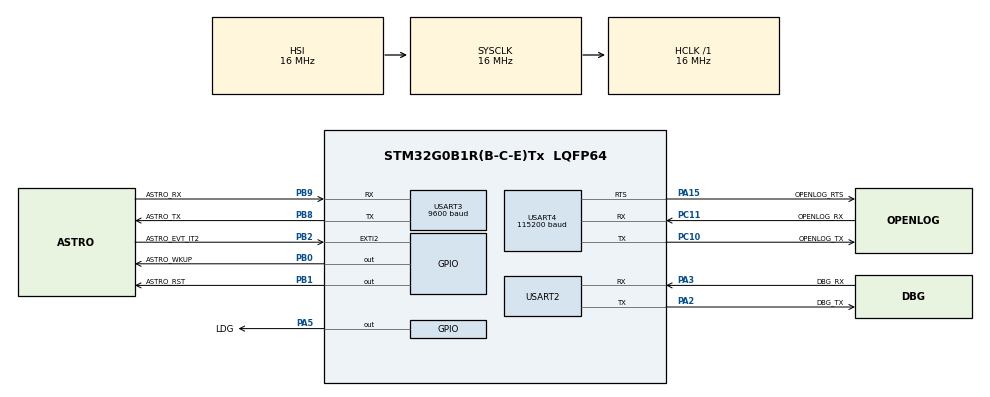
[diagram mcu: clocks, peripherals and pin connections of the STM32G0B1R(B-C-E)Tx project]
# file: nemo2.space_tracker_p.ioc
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Mcu.Family=STM32G0
Mcu.Name=STM32G0B1R(B-C-E)Tx
Mcu.Package=LQFP64
NVIC.EXTI2_3_IRQn=true\:3\:0\:true\:false\:true\:true\:true\:true
NVIC.RTC_TAMP_IRQn=true\:3\:0\:true\:false\:true\:true\:true\:true
NVIC.TIM6_DAC_LPTIM1_IRQn=true\:2\:0\:true\:false\:true\:true\:true\:true
PA13.GPIO_Label=TMS
PA13.Mode=Serial_Wire
PA13.Signal=SYS_SWDIO
PA14-BOOT0.GPIO_Label=TCK
PA14-BOOT0.Mode=Serial_Wire
PA14-BOOT0.Signal=SYS_SWCLK
PA15.GPIO_Label=OPENLOG_RTS
PA15.Mode=RTS_Only
PA15.Signal=USART4_RTS
PA2.GPIO_Label=DBG_TX
PA2.Mode=Asynchronous
PA2.Signal=USART2_TX
PA3.GPIO_Label=DBG_RX
PA3.Mode=Asynchronous
PA3.Signal=USART2_RX
PA5.GPIO_Label=LDG
PA5.GPIO_Speed=GPIO_SPEED_FREQ_HIGH
PA5.Signal=GPIO_Output
PB0.GPIO_Label=ASTRO_WKUP
PB0.Signal=GPIO_Output
PB1.GPIO_Label=ASTRO_RST
PB1.Signal=GPIO_Output
PB2.GPIO_Label=ASTRO_EVT_IT2
PB2.GPIO_PuPd=GPIO_NOPULL
PB2.Signal=GPXTI2
PB8.GPIO_Label=ASTRO_TX
PB8.Mode=Asynchronous
PB8.Signal=USART3_TX
PB9.GPIO_Label=ASTRO_RX
PB9.Mode=Asynchronous
PB9.Signal=USART3_RX
PC10.GPIO_Label=OPENLOG_TX
PC10.Mode=Asynchronous
PC10.Signal=USART4_TX
PC11.GPIO_Label=OPENLOG_RX
PC11.Mode=Asynchronous
PC11.Signal=USART4_RX
PC13.Mode=SYS_WakeUp1
PC13.Signal=SYS_WKUP2
PC14-OSC32_IN\ (PC14).Mode=LSE-External-Oscillator
PC14-OSC32_IN\ (PC14).Signal=RCC_OSC32_IN
PC15-OSC32_OUT\ (PC15).Mode=LSE-External-Oscillator
PC15-OSC32_OUT\ (PC15).Signal=RCC_OSC32_OUT
PF0-OSC_IN\ (PF0).GPIO_Label=MCO
PF0-OSC_IN\ (PF0).Mode=HSE-External-Clock-Source
PF0-OSC_IN\ (PF0).Signal=RCC_OSC_IN
ProjectManager.HeapSize=0x200
ProjectManager.StackSize=0x400
ProjectManager.TargetToolchain=STM32CubeIDE
RCC.AHBFreq_Value=16000000
RCC.CortexFreq_Value=16000000
RCC.EXTERNAL_CLOCK_VALUE=12288000
RCC.HCLKFreq_Value=16000000
RCC.HSE_VALUE=8000000
RCC.HSI48_VALUE=48000000
RCC.HSI_VALUE=16000000
RCC.RTCClockSelection=RCC_RTCCLKSOURCE_LSE
RCC.SYSCLKFreq_VALUE=16000000
RCC.USBFreq_Value=48000000
RCC.VCOOutputFreq_Value=128000000
RTC.Alarm-Alarm\ A=RTC_ALARM_A
RTC.Format=RTC_FORMAT_BIN
RTC.WeekDay=RTC_WEEKDAY_SATURDAY
TIM6.Period=1000-1
TIM6.Prescaler=16000-1
USART2.VirtualMode-Asynchronous=VM_ASYNC
USART3.BaudRate=9600
USART3.VirtualMode-Asynchronous=VM_ASYNC
USART4.BaudRate=115200
USART4.VirtualMode-Asynchronous=VM_ASYNC
VP_RTC_VS_RTC_Activate.Mode=RTC_Enabled
VP_RTC_VS_RTC_Alarm_A_Intern.Mode=Alarm A
VP_RTC_VS_RTC_Calendar.Mode=RTC_Calendar
VP_SYS_VS_DBSignals.Mode=DisableDeadBatterySignals
VP_TIM6_VS_ClockSourceINT.Mode=Enable_Timer
board=NUCLEO-G0B1RE

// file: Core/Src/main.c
/* USER CODE BEGIN Header */
/**
  ******************************************************************************
  * @file           : main.c
  * @brief          : Main program body
  ******************************************************************************
  * @attention
  *
  * Copyright (c) 2023 STMicroelectronics.
  * All rights reserved.
  *
  * This software is licensed under terms that can be found in the LICENSE file
  * in the root directory of this software component.
  * If no LICENSE file comes with this software, it is provided AS-IS.
  *
  ******************************************************************************
  */
/* USER CODE END Header */
#include "main.h"

RTC_HandleTypeDef hrtc;

TIM_HandleTypeDef htim6;

UART_HandleTypeDef huart2;
UART_HandleTypeDef huart3;
UART_HandleTypeDef huart4;

/* USER CODE BEGIN PV */
const char*	hello = "\nHello nemo2.space tracker p\n\n" ;
const char*	fv = "0.0.2" ;
char		rtc_dt_s[20] ;

// TIM
uint16_t	tim_seconds = 0 ; // Powinien być ten sam typ co my_lx6_gnss_active_time_ths

// RTC
RTC_TimeTypeDef rtc_t ;
RTC_DateTypeDef rtc_d ;
uint32_t		rtc_alarm_time = 3600 ; // 7200

// Astro
uint16_t	astro_payload_id = 0 ;
char		payload[ASTRO_PAYLOAD_MAX_LEN] = {0}; // 160 bajtów

// Flags
bool	is_system_already_initialized = false ; // Recognize if system has successful GNSS contact and has real time, Based on rtc settings.
bool	is_rtc_alarm_flag = false ;
bool	dbg_mode_flag = true ;

// temp

// Przykładowe współrzędne
double last_latitude_astro_geo_wr = 52.278250 ;
double last_longitude_astro_geo_wr = 20.809116 ;
double latitude_astro_geo_wr , longitude_astro_geo_wr ;

//int32_t latitude_astro_geo_wr = last_latitude_astro_geo_wr ;
//int32_t longitude_astro_geo_wr = last_longitude_astro_geo_wr ;

// OpenLog

float pdop ;

//SYSTEM
char	dbg_m[DBG_PAYLOAD_MAX_LEN] = {0} ;

/* USER CODE END PV */

void SystemClock_Config(void);
static void MX_GPIO_Init(void);
static void MX_USART2_UART_Init(void);
static void MX_RTC_Init(void);
static void MX_TIM6_Init(void);
static void MX_USART3_UART_Init(void);
static void MX_USART4_UART_Init(void);
/* USER CODE BEGIN PFP */
bool is_system_initialized ( void ) ;
bool my_astro_init () ;
/* USER CODE END PFP */

int main(void)
{

  /* MCU Configuration--------------------------------------------------------*/

  /* Reset of all peripherals, Initializes the Flash interface and the Systick. */
  HAL_Init();

  /* Configure the system clock */
  SystemClock_Config();

  /* Initialize all configured peripherals */
  MX_GPIO_Init();
  MX_USART2_UART_Init();
  MX_RTC_Init();
  MX_TIM6_Init();
  MX_USART3_UART_Init();
  MX_USART4_UART_Init();
  /* USER CODE BEGIN 2 */

  // System hello
  HAL_UART_Transmit ( HUART_DBG , (uint8_t*) hello , strlen (hello) , UART_TIMEOUT ) ;

  // System Init
  my_tim_init ( HTIM ) ;
  my_tim_start ( HTIM ) ;
  if ( !is_system_initialized () )
  {
	  if ( !my_astro_init ( htim6 ) )
	  {
		  HAL_NVIC_SystemReset () ;
	  }
	  else
	  {
		  while ( is_evt_pin_high() )
		  {
			  send_debug_logs ( "main.c,ucb2,is_evt_pin_high" ) ;
			  my_astro_read_evt_reg () ;
		  }
		  sprintf ( payload , "fv=%s" , fv ) ;
		  sprintf ( dbg_m , "main.c,ucb2,payload,%u %s" , astro_payload_id , payload ) ; // Żeby astro_payload_id był taki jak wysłany, bo po wysłaniu będzie zwiększony
		  my_astro_write_coordinates ( (int32_t) ( last_latitude_astro_geo_wr * 1e7 ) , (int32_t) ( last_longitude_astro_geo_wr * 1e7 ) ) ;
		  my_astro_add_payload_2_queue ( astro_payload_id++ , payload ) ;
		  send_debug_logs ( dbg_m ) ;
	  }
  }
  if ( my_rtc_set_alarm ( rtc_alarm_time ) && !dbg_mode_flag )
  {
	  tim_seconds = 0 ;
	  my_tim_stop ( HTIM ) ;
	  HAL_SuspendTick () ; // Jak nie wyłączę to mnie przerwanie SysTick od razu wybudzi!!!
	  HAL_PWR_EnterSTOPMode ( PWR_LOWPOWERREGULATOR_ON , PWR_STOPENTRY_WFE ) ;
	  HAL_ResumeTick () ;
	  my_tim_start ( HTIM ) ;
	  my_rtc_get_dt_s ( rtc_dt_s ) ;
	  send_debug_logs ( rtc_dt_s ) ;
  }
  /* USER CODE END 2 */

  /* Infinite loop */
  /* USER CODE BEGIN WHILE */
  while (1)
  {
	  while ( is_evt_pin_high() )
	  {
		  send_debug_logs ( "main.c,ucbw,is_evt_pin_high" ) ;
		  my_astro_read_evt_reg () ;
	  }

	  // Prepare payload to Astronode
	  if ( is_rtc_alarm_flag )
	  {
		  is_rtc_alarm_flag = false ;
		  my_rand_get_coordinates ( &last_latitude_astro_geo_wr , &last_longitude_astro_geo_wr , &latitude_astro_geo_wr , &longitude_astro_geo_wr ) ;
		  my_astro_write_coordinates ( (int32_t) ( latitude_astro_geo_wr * 1e7 ) , (int32_t) ( longitude_astro_geo_wr * 1e7 ) ) ;
		  pdop = ((float) rand () / RAND_MAX) * 99.9 ;
		  sprintf ( payload , "%.1f" , pdop ) ;
		  sprintf ( dbg_m , "main.c,ucnw,payload,%u %s" , astro_payload_id , payload ) ; // Żeby astro_payload_id był taki jak wysłany, bo po wysłaniu będzie zwiększony
		  my_astro_add_payload_2_queue ( astro_payload_id++ , payload ) ;
		  send_debug_logs ( dbg_m ) ;
	  }
	  while ( is_evt_pin_high() )
	  {
		  send_debug_logs ( "main.c,ucbw,is_evt_pin_high" ) ;
		  my_astro_read_evt_reg () ;
	  }
	  if ( !dbg_mode_flag )
		  if ( my_rtc_set_alarm ( rtc_alarm_time ) && !dbg_mode_flag )
		  {
			  tim_seconds = 0 ;
			  my_tim_stop ( HTIM ) ;
			  HAL_SuspendTick () ; // Jak nie wyłączę to mnie przerwanie SysTick od razu wybudzi!!!
			  HAL_PWR_EnterSTOPMode ( PWR_LOWPOWERREGULATOR_ON , PWR_STOPENTRY_WFE ) ;
			  HAL_ResumeTick () ;
			  my_tim_start ( HTIM ) ;
			  my_rtc_get_dt_s ( rtc_dt_s ) ;
			  send_debug_logs ( rtc_dt_s ) ;
		  }
    /* USER CODE END WHILE */

  }
}

void SystemClock_Config(void)
{
  RCC_OscInitTypeDef RCC_OscInitStruct = {0};
  RCC_ClkInitTypeDef RCC_ClkInitStruct = {0};

  /** Configure the main internal regulator output voltage
  */
  HAL_PWREx_ControlVoltageScaling(PWR_REGULATOR_VOLTAGE_SCALE1);

  /** Configure LSE Drive Capability
  */
  HAL_PWR_EnableBkUpAccess();
  __HAL_RCC_LSEDRIVE_CONFIG(RCC_LSEDRIVE_LOW);

  /** Initializes the RCC Oscillators according to the specified parameters
  * in the RCC_OscInitTypeDef structure.
  */
  RCC_OscInitStruct.OscillatorType = RCC_OSCILLATORTYPE_HSI|RCC_OSCILLATORTYPE_LSE;
  RCC_OscInitStruct.LSEState = RCC_LSE_ON;
  RCC_OscInitStruct.HSIState = RCC_HSI_ON;
  RCC_OscInitStruct.HSIDiv = RCC_HSI_DIV1;
  RCC_OscInitStruct.HSICalibrationValue = RCC_HSICALIBRATION_DEFAULT;
  RCC_OscInitStruct.PLL.PLLState = RCC_PLL_NONE;
  if (HAL_RCC_OscConfig(&RCC_OscInitStruct) != HAL_OK)
  {
    Error_Handler();
  }

  /** Initializes the CPU, AHB and APB buses clocks
  */
  RCC_ClkInitStruct.ClockType = RCC_CLOCKTYPE_HCLK|RCC_CLOCKTYPE_SYSCLK
                              |RCC_CLOCKTYPE_PCLK1;
  RCC_ClkInitStruct.SYSCLKSource = RCC_SYSCLKSOURCE_HSI;
  RCC_ClkInitStruct.AHBCLKDivider = RCC_SYSCLK_DIV1;
  RCC_ClkInitStruct.APB1CLKDivider = RCC_HCLK_DIV1;

  if (HAL_RCC_ClockConfig(&RCC_ClkInitStruct, FLASH_LATENCY_0) != HAL_OK)
  {
    Error_Handler();
  }
}

static void MX_RTC_Init(void)
{

  RTC_TimeTypeDef sTime = {0};
  RTC_DateTypeDef sDate = {0};
  RTC_AlarmTypeDef sAlarm = {0};

  /** Initialize RTC Only
  */
  hrtc.Instance = RTC;
  hrtc.Init.HourFormat = RTC_HOURFORMAT_24;
  hrtc.Init.AsynchPrediv = 127;
  hrtc.Init.SynchPrediv = 255;
  hrtc.Init.OutPut = RTC_OUTPUT_DISABLE;
  hrtc.Init.OutPutRemap = RTC_OUTPUT_REMAP_NONE;
  hrtc.Init.OutPutPolarity = RTC_OUTPUT_POLARITY_HIGH;
  hrtc.Init.OutPutType = RTC_OUTPUT_TYPE_OPENDRAIN;
  hrtc.Init.OutPutPullUp = RTC_OUTPUT_PULLUP_NONE;
  if (HAL_RTC_Init(&hrtc) != HAL_OK)
  {
    Error_Handler();
  }

  /** Initialize RTC and set the Time and Date
  */
  sTime.Hours = 0;
  sTime.Minutes = 0;
  sTime.Seconds = 0;
  sTime.SubSeconds = 0;
  sTime.DayLightSaving = RTC_DAYLIGHTSAVING_NONE;
  sTime.StoreOperation = RTC_STOREOPERATION_RESET;
  if (HAL_RTC_SetTime(&hrtc, &sTime, RTC_FORMAT_BIN) != HAL_OK)
  {
    Error_Handler();
  }
  sDate.WeekDay = RTC_WEEKDAY_SATURDAY;
  sDate.Month = RTC_MONTH_JANUARY;
  sDate.Date = 1;
  sDate.Year = 0;

  if (HAL_RTC_SetDate(&hrtc, &sDate, RTC_FORMAT_BIN) != HAL_OK)
  {
    Error_Handler();
  }

  /** Enable the Alarm A
  */
  sAlarm.AlarmTime.Hours = 0;
  sAlarm.AlarmTime.Minutes = 0;
  sAlarm.AlarmTime.Seconds = 0;
  sAlarm.AlarmTime.SubSeconds = 0;
  sAlarm.AlarmTime.DayLightSaving = RTC_DAYLIGHTSAVING_NONE;
  sAlarm.AlarmTime.StoreOperation = RTC_STOREOPERATION_RESET;
  sAlarm.AlarmMask = RTC_ALARMMASK_NONE;
  sAlarm.AlarmSubSecondMask = RTC_ALARMSUBSECONDMASK_ALL;
  sAlarm.AlarmDateWeekDaySel = RTC_ALARMDATEWEEKDAYSEL_DATE;
  sAlarm.AlarmDateWeekDay = 1;
  sAlarm.Alarm = RTC_ALARM_A;
  if (HAL_RTC_SetAlarm_IT(&hrtc, &sAlarm, RTC_FORMAT_BIN) != HAL_OK)
  {
    Error_Handler();
  }

}

static void MX_TIM6_Init(void)
{

  TIM_MasterConfigTypeDef sMasterConfig = {0};

  htim6.Instance = TIM6;
  htim6.Init.Prescaler = 16000-1;
  htim6.Init.CounterMode = TIM_COUNTERMODE_UP;
  htim6.Init.Period = 1000-1;
  htim6.Init.AutoReloadPreload = TIM_AUTORELOAD_PRELOAD_DISABLE;
  if (HAL_TIM_Base_Init(&htim6) != HAL_OK)
  {
    Error_Handler();
  }
  sMasterConfig.MasterOutputTrigger = TIM_TRGO_RESET;
  sMasterConfig.MasterSlaveMode = TIM_MASTERSLAVEMODE_DISABLE;
  if (HAL_TIMEx_MasterConfigSynchronization(&htim6, &sMasterConfig) != HAL_OK)
  {
    Error_Handler();
  }

}

static void MX_USART2_UART_Init(void)
{

  huart2.Instance = USART2;
  huart2.Init.BaudRate = 115200;
  huart2.Init.WordLength = UART_WORDLENGTH_8B;
  huart2.Init.StopBits = UART_STOPBITS_1;
  huart2.Init.Parity = UART_PARITY_NONE;
  huart2.Init.Mode = UART_MODE_TX_RX;
  huart2.Init.HwFlowCtl = UART_HWCONTROL_NONE;
  huart2.Init.OverSampling = UART_OVERSAMPLING_16;
  huart2.Init.OneBitSampling = UART_ONE_BIT_SAMPLE_DISABLE;
  huart2.Init.ClockPrescaler = UART_PRESCALER_DIV1;
  huart2.AdvancedInit.AdvFeatureInit = UART_ADVFEATURE_NO_INIT;
  if (HAL_UART_Init(&huart2) != HAL_OK)
  {
    Error_Handler();
  }
  if (HAL_UARTEx_SetTxFifoThreshold(&huart2, UART_TXFIFO_THRESHOLD_1_8) != HAL_OK)
  {
    Error_Handler();
  }
  if (HAL_UARTEx_SetRxFifoThreshold(&huart2, UART_RXFIFO_THRESHOLD_1_8) != HAL_OK)
  {
    Error_Handler();
  }
  if (HAL_UARTEx_DisableFifoMode(&huart2) != HAL_OK)
  {
    Error_Handler();
  }

}

static void MX_USART3_UART_Init(void)
{

  huart3.Instance = USART3;
  huart3.Init.BaudRate = 9600;
  huart3.Init.WordLength = UART_WORDLENGTH_8B;
  huart3.Init.StopBits = UART_STOPBITS_1;
  huart3.Init.Parity = UART_PARITY_NONE;
  huart3.Init.Mode = UART_MODE_TX_RX;
  huart3.Init.HwFlowCtl = UART_HWCONTROL_NONE;
  huart3.Init.OverSampling = UART_OVERSAMPLING_16;
  huart3.Init.OneBitSampling = UART_ONE_BIT_SAMPLE_DISABLE;
  huart3.Init.ClockPrescaler = UART_PRESCALER_DIV1;
  huart3.AdvancedInit.AdvFeatureInit = UART_ADVFEATURE_NO_INIT;
  if (HAL_UART_Init(&huart3) != HAL_OK)
  {
    Error_Handler();
  }
  if (HAL_UARTEx_SetTxFifoThreshold(&huart3, UART_TXFIFO_THRESHOLD_1_8) != HAL_OK)
  {
    Error_Handler();
  }
  if (HAL_UARTEx_SetRxFifoThreshold(&huart3, UART_RXFIFO_THRESHOLD_1_8) != HAL_OK)
  {
    Error_Handler();
  }
  if (HAL_UARTEx_DisableFifoMode(&huart3) != HAL_OK)
  {
    Error_Handler();
  }

}

static void MX_USART4_UART_Init(void)
{

  huart4.Instance = USART4;
  huart4.Init.BaudRate = 115200;
  huart4.Init.WordLength = UART_WORDLENGTH_8B;
  huart4.Init.StopBits = UART_STOPBITS_1;
  huart4.Init.Parity = UART_PARITY_NONE;
  huart4.Init.Mode = UART_MODE_TX_RX;
  huart4.Init.HwFlowCtl = UART_HWCONTROL_RTS;
  huart4.Init.OverSampling = UART_OVERSAMPLING_16;
  huart4.Init.OneBitSampling = UART_ONE_BIT_SAMPLE_DISABLE;
  huart4.Init.ClockPrescaler = UART_PRESCALER_DIV1;
  huart4.AdvancedInit.AdvFeatureInit = UART_ADVFEATURE_NO_INIT;
  if (HAL_UART_Init(&huart4) != HAL_OK)
  {
    Error_Handler();
  }

}

static void MX_GPIO_Init(void)
{
  GPIO_InitTypeDef GPIO_InitStruct = {0};

  /* GPIO Ports Clock Enable */
  __HAL_RCC_GPIOC_CLK_ENABLE();
  __HAL_RCC_GPIOF_CLK_ENABLE();
  __HAL_RCC_GPIOA_CLK_ENABLE();
  __HAL_RCC_GPIOB_CLK_ENABLE();

  /*Configure GPIO pin Output Level */
  HAL_GPIO_WritePin(LDG_GPIO_Port, LDG_Pin, GPIO_PIN_RESET);

  /*Configure GPIO pin Output Level */
  HAL_GPIO_WritePin(GPIOB, ASTRO_WKUP_Pin|ASTRO_RST_Pin, GPIO_PIN_RESET);

  /*Configure GPIO pin : LDG_Pin */
  GPIO_InitStruct.Pin = LDG_Pin;
  GPIO_InitStruct.Mode = GPIO_MODE_OUTPUT_PP;
  GPIO_InitStruct.Pull = GPIO_NOPULL;
  GPIO_InitStruct.Speed = GPIO_SPEED_FREQ_HIGH;
  HAL_GPIO_Init(LDG_GPIO_Port, &GPIO_InitStruct);

  /*Configure GPIO pins : ASTRO_WKUP_Pin ASTRO_RST_Pin */
  GPIO_InitStruct.Pin = ASTRO_WKUP_Pin|ASTRO_RST_Pin;
  GPIO_InitStruct.Mode = GPIO_MODE_OUTPUT_PP;
  GPIO_InitStruct.Pull = GPIO_NOPULL;
  GPIO_InitStruct.Speed = GPIO_SPEED_FREQ_LOW;
  HAL_GPIO_Init(GPIOB, &GPIO_InitStruct);

  /*Configure GPIO pin : ASTRO_EVT_IT2_Pin */
  GPIO_InitStruct.Pin = ASTRO_EVT_IT2_Pin;
  GPIO_InitStruct.Mode = GPIO_MODE_IT_RISING;
  GPIO_InitStruct.Pull = GPIO_NOPULL;
  HAL_GPIO_Init(ASTRO_EVT_IT2_GPIO_Port, &GPIO_InitStruct);

  /* EXTI interrupt init*/
  HAL_NVIC_SetPriority(EXTI2_3_IRQn, 3, 0);
  HAL_NVIC_EnableIRQ(EXTI2_3_IRQn);

}

/* USER CODE BEGIN 4 */
void send_debug_logs ( char* p_tx_buffer )
{
    uint32_t length = strlen ( p_tx_buffer ) ;

    if ( length > UART_TX_MAX_BUFF_SIZE )
    {
        HAL_UART_Transmit ( HUART_DBG , ( uint8_t* ) "[ERROR] UART buffer reached max length.\n" , 42 , 1000 ) ;
        length = UART_TX_MAX_BUFF_SIZE;
    }

    HAL_UART_Transmit ( HUART_DBG , ( uint8_t* ) p_tx_buffer , length , 1000 ) ;
    HAL_UART_Transmit ( HUART_DBG , ( uint8_t* ) "\n" , 1 , 1000 ) ;
}
void reset_astronode ( void )
{
    HAL_GPIO_WritePin ( ASTRO_RST_GPIO_Port , ASTRO_RST_Pin , GPIO_PIN_SET ) ;
    HAL_Delay ( 1 ) ;
    HAL_GPIO_WritePin ( ASTRO_RST_GPIO_Port , ASTRO_RST_Pin , GPIO_PIN_RESET ) ;
    HAL_Delay ( 250 ) ;
}
void send_astronode_request ( uint8_t* p_tx_buffer , uint32_t length )
{
    send_debug_logs ( "Message sent to the Astronode --> " ) ;
    send_debug_logs ( ( char* ) p_tx_buffer ) ;

    HAL_UART_Transmit ( HUART_ASTRO , p_tx_buffer , length , 1000 ) ;
}
bool is_astronode_character_received ( uint8_t* p_rx_char )
{
    return ( HAL_UART_Receive ( HUART_ASTRO , p_rx_char , 1 , 100 ) == HAL_OK ? true : false ) ;
}
bool is_evt_pin_high ( void )
{
	return ( HAL_GPIO_ReadPin ( /*GPIOA*/ ASTRO_EVT_IT2_GPIO_Port , ASTRO_EVT_IT2_Pin ) == GPIO_PIN_SET ? true : false);
}
uint32_t get_systick ( void )
{
    return HAL_GetTick() ;
}
bool is_systick_timeout_over ( uint32_t starting_value , uint16_t duration )
{
    return ( get_systick () - starting_value > duration ) ? true : false ;
}

// TIM functions
void my_tim_init ( TIM_HandleTypeDef htim )
{
	__HAL_TIM_CLEAR_IT ( &htim6 , TIM_IT_UPDATE ) ;
}

void my_tim_start ( TIM_HandleTypeDef htim )
{
	tim_seconds = 0 ;
	HAL_TIM_Base_Start_IT ( &htim6 ) ;
}

void my_tim_stop ( TIM_HandleTypeDef htim )
{
	HAL_TIM_Base_Stop_IT ( &htim6 ) ;
}

// Astronode functions
bool my_astro_init ()
{
	bool cfg_wr = false ;
	tim_seconds = 0 ;

	while ( tim_seconds < MY_ASTRO_INIT_TIME && !cfg_wr )
	{
		reset_astronode () ;
		HAL_Delay ( 100 ) ;
		// Satellite Acknowledgement (true): Asset informed of ACK to satellite (default)
		// Add Geolocation (true)
		// Enable_ephemeris (true)
		// Deep Sleep Mode (false) NOT used
		// Satellite Ack Event Pin Mask (true): EVT pin shows EVT register Payload Ack bit state
		// Reset Notification Event Pin Mask (true):  EVT pin shows EVT register Reset Event Notification bit state
		// Command Available Event Pin Mask (true): EVT pin shows EVT register Command Available bit state
		// Message Transmission (Tx) Pending Event Pin Mask (false):  EVT pin does not show EVT register Msg Tx Pending bit state
		cfg_wr = astronode_send_cfg_wr ( true , true , true , false , true , true , true , false  ) ;
	}

	if ( cfg_wr )
	{
		astronode_send_rtc_rr () ;
		astronode_send_cfg_sr () ;
		astronode_send_mpn_rr () ;
		astronode_send_msn_rr () ;
		astronode_send_mgi_rr () ;
		astronode_send_pld_fr () ;
		return true ;
	}
	else
	{
		return false ;
	}
}

// System functions
bool is_system_initialized ( void )
{
	// Nie próbuj robić nic z Astronode, bo nie wiesz czy nie trzeba go zainicjować restartem. Ogranicz się do samego systemu.
	uint16_t yyyy = my_rtc_get_dt_s ( rtc_dt_s ) ;
	send_debug_logs ( rtc_dt_s ) ;
	return ( yyyy >= FIRMWARE_RELEASE_YEAR ) ? true : false ;
}

// RTC Callbacks
void HAL_RTC_AlarmAEventCallback ( RTC_HandleTypeDef* hrtc )
{
	// is_rtc_alarm_a_flag = true ;
	//__HAL_RTC_ALARM_CLEAR_FLAG ( hrtc , RTC_FLAG_ALRAF ) ;  // Wyczyść flagę alarmu
	is_rtc_alarm_flag = true ;
	send_debug_logs ( "main.c,HAL_RTC_AlarmAEventCallback," ) ;
}

// TIM Callbacks

void HAL_TIM_PeriodElapsedCallback ( TIM_HandleTypeDef *htim )
{
	if ( htim->Instance == TIM6 )
	{
		tim_seconds++ ;
		if ( tim_seconds > TIM_SECONDS_THS_SYSTEM_RESET )
		{
			send_debug_logs ( "main.c,HAL_TIM_PeriodElapsedCallback,HAL_NVIC_SystemReset" ) ;
			HAL_NVIC_SystemReset () ;
		}
	}
}

// EXTI Callbacks
void HAL_GPIO_EXTI_Rising_Callback ( uint16_t GPIO_Pin )
{
	//zamiast poniższego może lepiej wrócić do pierwotnego przeglądania GPIO w trybie input bez przerwania
	/*
	if ( GPIO_Pin == 0x4 ) // ASTRO_EVT_Pin = 0x1000
	{
		is_astro_evt_flag = true ;
	}
	*/
	char m[70];
	sprintf ( m , "main.c,HAL_GPIO_EXTI_Rising_Callback,%d" , GPIO_Pin ) ;
	send_debug_logs ( m ) ;
}

/* USER CODE END 4 */

void Error_Handler(void)
{
  __disable_irq();
  while (1)
  {
  }
}
